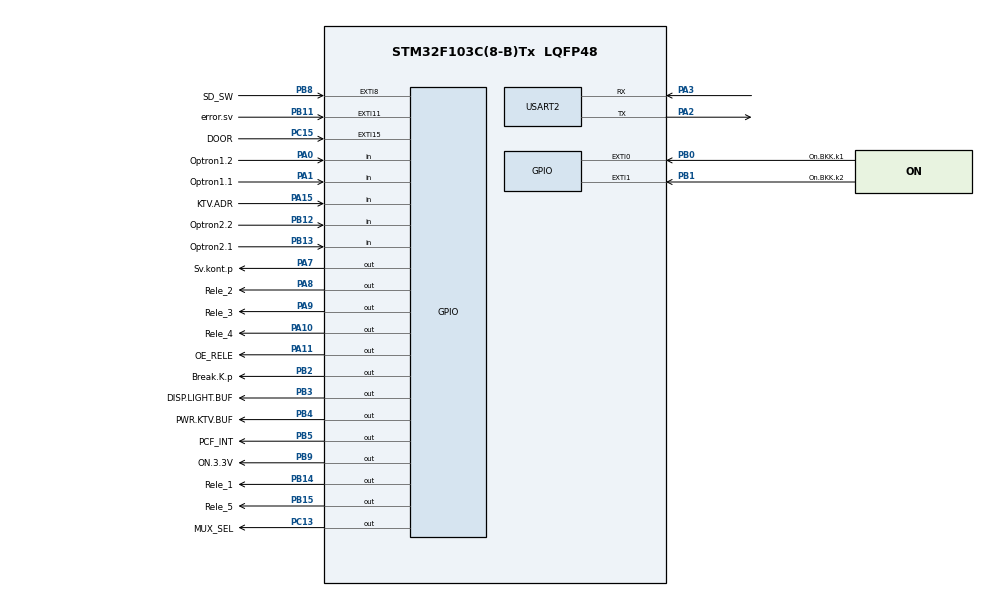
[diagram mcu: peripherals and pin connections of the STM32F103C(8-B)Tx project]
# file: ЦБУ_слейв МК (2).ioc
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Dma.Request0=USART2_RX
Dma.Request1=USART2_TX
Dma.USART2_RX.0.Direction=DMA_PERIPH_TO_MEMORY
Dma.USART2_RX.0.Instance=DMA1_Channel6
Dma.USART2_RX.0.MemDataAlignment=DMA_MDATAALIGN_BYTE
Dma.USART2_RX.0.MemInc=DMA_MINC_ENABLE
Dma.USART2_RX.0.Mode=DMA_NORMAL
Dma.USART2_RX.0.PeriphDataAlignment=DMA_PDATAALIGN_BYTE
Dma.USART2_RX.0.PeriphInc=DMA_PINC_DISABLE
Dma.USART2_RX.0.Priority=DMA_PRIORITY_LOW
Dma.USART2_TX.1.Direction=DMA_MEMORY_TO_PERIPH
Dma.USART2_TX.1.Instance=DMA1_Channel7
Dma.USART2_TX.1.MemDataAlignment=DMA_MDATAALIGN_BYTE
Dma.USART2_TX.1.MemInc=DMA_MINC_ENABLE
Dma.USART2_TX.1.Mode=DMA_NORMAL
Dma.USART2_TX.1.PeriphDataAlignment=DMA_PDATAALIGN_BYTE
Dma.USART2_TX.1.PeriphInc=DMA_PINC_DISABLE
Dma.USART2_TX.1.Priority=DMA_PRIORITY_LOW
Mcu.Family=STM32F1
Mcu.Name=STM32F103C(8-B)Tx
Mcu.Package=LQFP48
NVIC.DMA1_Channel6_IRQn=true\:0\:0\:false\:false\:true\:false\:true\:true
NVIC.DMA1_Channel7_IRQn=true\:0\:0\:false\:false\:true\:false\:true\:true
NVIC.EXTI0_IRQn=true\:0\:0\:false\:false\:true\:true\:true\:true
NVIC.EXTI15_10_IRQn=true\:0\:0\:false\:false\:true\:true\:true\:true
NVIC.EXTI1_IRQn=true\:0\:0\:false\:false\:true\:true\:true\:true
NVIC.EXTI9_5_IRQn=true\:0\:0\:false\:false\:true\:true\:true\:true
NVIC.PriorityGroup=NVIC_PRIORITYGROUP_4
NVIC.TIM1_UP_IRQn=true\:0\:0\:false\:false\:true\:true\:true\:true
NVIC.TIM2_IRQn=true\:0\:0\:false\:false\:true\:true\:true\:true
NVIC.USART2_IRQn=true\:0\:0\:false\:false\:true\:true\:true\:true
PA0-WKUP.GPIO_Label=Optron1.2
PA0-WKUP.GPIO_PuPd=GPIO_NOPULL
PA0-WKUP.Signal=GPIO_Input
PA1.GPIO_Label=Optron1.1
PA1.GPIO_PuPd=GPIO_NOPULL
PA1.Signal=GPIO_Input
PA10.GPIO_Label=Rele_4
PA10.GPIO_PuPd=GPIO_PULLDOWN
PA10.PinState=GPIO_PIN_SET
PA10.Signal=GPIO_Output
PA11.GPIO_Label=OE_RELE
PA11.GPIO_PuPd=GPIO_PULLUP
PA11.Signal=GPIO_Output
PA13.Mode=Serial_Wire
PA13.Signal=SYS_JTMS-SWDIO
PA14.Mode=Serial_Wire
PA14.Signal=SYS_JTCK-SWCLK
PA15.GPIO_Label=KTV.ADR
PA15.GPIO_PuPd=GPIO_NOPULL
PA15.Signal=GPIO_Input
PA2.Mode=Asynchronous
PA2.Signal=USART2_TX
PA3.Mode=Asynchronous
PA3.Signal=USART2_RX
PA7.GPIO_Label=Sv.kont.p
PA7.GPIO_PuPd=GPIO_PULLUP
PA7.Signal=GPIO_Output
PA8.GPIO_Label=Rele_2
PA8.GPIO_PuPd=GPIO_PULLDOWN
PA8.PinState=GPIO_PIN_SET
PA8.Signal=GPIO_Output
PA9.GPIO_Label=Rele_3
PA9.GPIO_PuPd=GPIO_PULLDOWN
PA9.PinState=GPIO_PIN_SET
PA9.Signal=GPIO_Output
PB0.GPIO_Label=On.BKK.k1
PB0.GPIO_ModeDefaultEXTI=GPIO_MODE_IT_RISING_FALLING
PB0.GPIO_PuPd=GPIO_NOPULL
PB0.Signal=GPXTI0
PB1.GPIO_Label=On.BKK.k2
PB1.GPIO_ModeDefaultEXTI=GPIO_MODE_IT_RISING_FALLING
PB1.GPIO_PuPd=GPIO_NOPULL
PB1.Signal=GPXTI1
PB11.GPIO_Label=error.sv
PB11.GPIO_ModeDefaultEXTI=GPIO_MODE_IT_RISING_FALLING
PB11.GPIO_PuPd=GPIO_NOPULL
PB11.Signal=GPXTI11
PB12.GPIO_Label=Optron2.2
PB12.GPIO_PuPd=GPIO_NOPULL
PB12.Signal=GPIO_Input
PB13.GPIO_Label=Optron2.1
PB13.GPIO_PuPd=GPIO_NOPULL
PB13.Signal=GPIO_Input
PB14.GPIO_Label=Rele_1
PB14.GPIO_PuPd=GPIO_PULLDOWN
PB14.PinState=GPIO_PIN_SET
PB14.Signal=GPIO_Output
PB15.GPIO_Label=Rele_5
PB15.GPIO_PuPd=GPIO_PULLDOWN
PB15.PinState=GPIO_PIN_SET
PB15.Signal=GPIO_Output
PB2.GPIO_Label=Break.K.p
PB2.GPIO_PuPd=GPIO_PULLUP
PB2.Signal=GPIO_Output
PB3.GPIO_Label=DISP.LIGHT.BUF
PB3.GPIO_PuPd=GPIO_PULLDOWN
PB3.PinState=GPIO_PIN_SET
PB3.Signal=GPIO_Output
PB4.GPIO_Label=PWR.KTV.BUF
PB4.GPIO_PuPd=GPIO_PULLDOWN
PB4.PinState=GPIO_PIN_SET
PB4.Signal=GPIO_Output
PB5.GPIO_Label=PCF_INT
PB5.Signal=GPIO_Output
PB8.GPIO_Label=SD_SW
PB8.GPIO_ModeDefaultEXTI=GPIO_MODE_IT_RISING_FALLING
PB8.Signal=GPXTI8
PB9.GPIO_Label=ON.3.3V
PB9.GPIO_PuPd=GPIO_PULLDOWN
PB9.PinState=GPIO_PIN_SET
PB9.Signal=GPIO_Output
PC13-TAMPER-RTC.GPIO_Label=MUX_SEL
PC13-TAMPER-RTC.GPIO_PuPd=GPIO_NOPULL
PC13-TAMPER-RTC.Signal=GPIO_Output
PC15-OSC32_OUT.GPIO_Label=DOOR
PC15-OSC32_OUT.GPIO_ModeDefaultEXTI=GPIO_MODE_IT_RISING_FALLING
PC15-OSC32_OUT.GPIO_PuPd=GPIO_NOPULL
PC15-OSC32_OUT.Signal=GPXTI15
PD0-OSC_IN.Mode=HSE-External-Oscillator
PD0-OSC_IN.Signal=RCC_OSC_IN
PD1-OSC_OUT.Mode=HSE-External-Oscillator
PD1-OSC_OUT.Signal=RCC_OSC_OUT
ProjectManager.HeapSize=0x200
ProjectManager.StackSize=0x400
ProjectManager.TargetToolchain=EWARM V8.32
RCC.AHBFreq_Value=72000000
RCC.APB1CLKDivider=RCC_HCLK_DIV2
RCC.APB1Freq_Value=36000000
RCC.APB1TimFreq_Value=72000000
RCC.APB2Freq_Value=72000000
RCC.APB2TimFreq_Value=72000000
RCC.HCLKFreq_Value=72000000
RCC.HSE_VALUE=12000000
RCC.PLLMUL=RCC_PLL_MUL6
RCC.PLLSourceVirtual=RCC_PLLSOURCE_HSE
RCC.SYSCLKFreq_VALUE=72000000
RCC.SYSCLKSource=RCC_SYSCLKSOURCE_PLLCLK
RCC.USBFreq_Value=72000000
TIM1.Period=999
TIM1.Prescaler=71
TIM2.Period=19
TIM2.Prescaler=7199
USART2.VirtualMode=VM_ASYNC
VP_TIM1_VS_ClockSourceINT.Mode=Internal
VP_TIM2_VS_ClockSourceINT.Mode=Internal
board=custom

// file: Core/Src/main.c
/* USER CODE BEGIN Header */
/**
  ******************************************************************************
  * @file           : main.c
  * @brief          : Main program body
  ******************************************************************************
  * @attention
  *
  * Copyright (c) 2026 STMicroelectronics.
  * All rights reserved.
  *
  * This software is licensed under terms that can be found in the LICENSE file
  * in the root directory of this software component.
  * If no LICENSE file comes with this software, it is provided AS-IS.
  *
  ******************************************************************************
  */
/* USER CODE END Header */
#include "main.h"

/* USER CODE BEGIN Includes */
#include "stm32f1xx.h"

#include "mbcrc.h"
/* USER CODE END Includes */

/* USER CODE BEGIN PTD */
#define BOOTLOADER_START_ADDR (0x08000000U)
#define BOOTLOADER_END_ADDR   (0x08001FFFU)
#define APP_START_ADDR        (0x08002000U)
#define APP_FLASH_CFG_START   (0x0800FC00U)
#define APP_FLASH_CFG_END     (0x0800FFFFU)

#define APP_ADDR               APP_START_ADDR   //Это адаптированный загрузчик от UMVH
#define END_APP_ADDR           APP_FLASH_CFG_START - 1
/* USER CODE END PTD */

/* USER CODE BEGIN PD */
typedef void (*pAppEntry)(void);

#define buf_size_rx             100

#define FLASH_CFG_PAGE_ADDR    APP_FLASH_CFG_START

#define UPDATE_FLAG            APP_FLASH_CFG_START
#define FLASH_PAGE_SIZE        1024U

#define UPDATE_TIMEOUT_LOOPS 100000U
#define ID                      0x01

#define HEADER_SIZE           6   // ID(1)+FUNC(1)+PKT_H(1)+PKT_L(1)+TOT_H(1)+TOT_L(1)
#define CRC_SIZE              2
#define FUNC_CODE_FIRMWARE    0x2A
#define MODBUS_ILLEGAL_FUNCTION    0x01
#define CONFIG_PAGE_BASE   FLASH_CFG_PAGE_ADDR  // Адрес страницы с настройками калибровки и прочее

volatile uint32_t tick = 0;
volatile uint16_t number = 1;

volatile uint16_t time_x = 0;
#define TIME_X_MAX         30

static uint16_t s_pageBuf[FLASH_PAGE_SIZE/2];  // 1 КБ = 512 halfword
/* USER CODE END PD */

/* USER CODE BEGIN PM */
uint8_t receive_buf[buf_size_rx] = {0};
unsigned char ID_1 = ID;
/* USER CODE END PM */

void SystemClock_Config(void);
static void MX_GPIO_Init(void);
static void MX_DMA_Init(void);
static void MX_USART2_UART_Init(void);
static void MX_TIM2_Init(void);
static void MX_TIM1_Init(void);
/* USER CODE BEGIN PFP */

void MY_UARTEx_RxEventCallback(uint16_t Size);
void JumpToApp(void);
void Update(void);
void SwitchToReceive(void);

static void flash_unlock(void);
static void flash_lock(void);
static uint8_t flash_program_halfword(uint32_t addr, uint16_t data);
static void send_ack(uint16_t packet);
void OS_usave_packet(uint16_t rx_len);
void ERROR_handler(uint8_t exception_code);
static void uart_tx(const uint8_t *buf, uint16_t len);
uint16_t FW_CalcCrc_ExcludeTail2(void);
static inline uint16_t swap_bytes16(uint16_t x);
//void SysTick_Handler(void);

/* USER CODE END PFP */

/* USER CODE BEGIN 0 */
void JumpToApp(void) {
    uint32_t *app_vec = (uint32_t *)APP_ADDR;
    // 1) Отключаем все прерывания
    __disable_irq();
    // 2) Устанавливаем MSP = первый элемент векторной таблицы приложения
    __set_MSP(app_vec[0]);

    // 3) сбросить USART1
    LL_USART_Disable(USART2);
    LL_APB1_GRP1_ForceReset(LL_APB1_GRP1_PERIPH_USART2);
    LL_APB1_GRP1_ReleaseReset(LL_APB1_GRP1_PERIPH_USART2);

    // 4) сбросить DMA‑канал (тот, что RX)
    LL_DMA_DisableChannel(DMA1, LL_DMA_CHANNEL_6);
    LL_AHB1_GRP1_DisableClock(LL_AHB1_GRP1_PERIPH_DMA1);
    LL_AHB1_GRP1_EnableClock(LL_AHB1_GRP1_PERIPH_DMA1);
    DMA1->IFCR = 0xFFFFFFFFu;

    // 5) отключить и сбросить NVIC
    NVIC_DisableIRQ(USART2_IRQn);
    NVIC_ClearPendingIRQ(USART2_IRQn);
    NVIC->ICER[0] = 0xFFFFFFFFu;
    NVIC->ICPR[0] = 0xFFFFFFFFu;

    // 6) Получаем адрес Reset_Handler приложения
    pAppEntry entry = (pAppEntry)app_vec[1];
    // 7) Прыгаем в приложение

    SysTick->CTRL = 0;
    SysTick->LOAD = 0;
    SysTick->VAL  = 0;

    entry();
    while (1) { /* не придём сюда */ }
}

static inline uint16_t swap_bytes16(uint16_t x)
{
    return (uint16_t)((x >> 8) | (x << 8));
}

static int Flash_ReadPageToBuf(uint32_t pageBase)
{
    // просто копируем байты страницы в RAM
    const uint16_t *src = (const uint16_t *)pageBase;
    for (uint32_t i = 0; i < FLASH_PAGE_SIZE/2; ++i) {
        s_pageBuf[i] = src[i];
    }
    return 0;
}

static int Flash_ErasePage(uint32_t pageBase)
{
    flash_unlock();
    FLASH->SR = FLASH_SR_EOP | FLASH_SR_WRPRTERR | FLASH_SR_PGERR;
    FLASH->CR |= FLASH_CR_PER;
    FLASH->AR  = pageBase;
    FLASH->CR |= FLASH_CR_STRT;
    while (FLASH->SR & FLASH_SR_BSY) {}
    FLASH->CR &= ~FLASH_CR_PER;
    if (FLASH->SR & (FLASH_SR_WRPRTERR | FLASH_SR_PGERR)) { flash_lock(); return -1; }
    FLASH->SR = FLASH_SR_EOP;
    flash_lock();
    return 0;
}

static int Flash_ProgramPageFromBuf(uint32_t pageBase)
{
    flash_unlock();
    for (uint32_t i = 0; i < FLASH_PAGE_SIZE/2; ++i) {
        uint32_t addr = pageBase + i*2;
        uint16_t hw   = s_pageBuf[i];
        if (hw == 0xFFFFu) continue;               // можно не писать стёртые полусловa
        if (flash_program_halfword(addr, hw)) {    // твоя функция
            flash_lock();
            return -1;
        }
    }
    flash_lock();
    return 0;
}

/* Сохранить страницу, изменив только два флага */
int Flash_PreservePageExceptOS(uint32_t flag1_addr, uint16_t flag1_val)
{
    const uint32_t pageBase = (flag1_addr & ~(FLASH_PAGE_SIZE-1u));

    __disable_irq();                     // чтобы никто не читал эту страницу во время операции

    // 1) копируем страницу в RAM
    Flash_ReadPageToBuf(pageBase);

    // 2) правим только флаги в копии
    s_pageBuf[(flag1_addr - pageBase)/2] = flag1_val;   // например 0xFFFF чтобы «стереть» флаг

    // 3) стираем страницу
    if (Flash_ErasePage(pageBase)) { __enable_irq(); return -3; }

    // 4) заливаем обратно всю страницу из буфера
    if (Flash_ProgramPageFromBuf(pageBase)) { __enable_irq(); return -4; }

    __enable_irq();
    return 0;
}

/* глобальная статическая переменная для адреса записи */
static uint32_t flash_write_addr = APP_ADDR;

/* вспомогательные функции для работы с флеш */
static inline void flash_unlock(void) {
    if (FLASH->CR & FLASH_CR_LOCK) {
        FLASH->KEYR = FLASH_KEY1;
        FLASH->KEYR = FLASH_KEY2;
    }
}

static inline void flash_lock(void) {
    FLASH->CR |= FLASH_CR_LOCK;
}

/* программирует в флеш half‑word, возвращает 0 при успехе */
static uint8_t flash_program_halfword(uint32_t addr, uint16_t data) {
    flash_unlock();
    FLASH->CR |= FLASH_CR_PG;
    *(__IO uint16_t*)addr = data;
    while (FLASH->SR & FLASH_SR_BSY);
    FLASH->CR &= ~FLASH_CR_PG;
    if (FLASH->SR & (FLASH_SR_WRPRTERR | FLASH_SR_PGERR)) return 1;
    FLASH->SR = FLASH_SR_EOP | FLASH_SR_WRPRTERR | FLASH_SR_PGERR;
    return 0;
}

static void uart_tx(const uint8_t *buf, uint16_t len)
{
  for (uint16_t i=0; i<len; i++) {
    while (!LL_USART_IsActiveFlag_TXE(USART2));
    LL_USART_TransmitData8(USART2, buf[i]);
  }
  while (!LL_USART_IsActiveFlag_TC(USART2));
  LL_USART_ClearFlag_TC(USART2);
  LL_DMA_EnableChannel(DMA1, LL_DMA_CHANNEL_6);
  SwitchToReceive();
}

static void send_ack(uint16_t packet)
{
    uint8_t resp[6];
    resp[0] = ID_1;
    resp[1] = FUNC_CODE_FIRMWARE;
    resp[2] = (packet >> 8) & 0xFF;
    resp[3] = packet & 0xFF;
    uint16_t crc = mbcrc(resp, 4);
    resp[4] = (crc >> 8) & 0xFF;
    resp[5] =  crc        & 0xFF;

    uart_tx(resp, 6);
}

uint16_t FW_CalcCrc_ExcludeTail2(void)
{
    const uint32_t start = APP_ADDR;
    const uint32_t end_inclusive = END_APP_ADDR;

    uint32_t len = (end_inclusive - start + 1u);
    //uint32_t len = (end_inclusive - start);
    if (len < 2u) {
        return 0xFFFFu; // или 0, как удобнее обрабатывать ошибку
    }

    len -= 2u; // исключаем последние 2 байта (CRC)
    return mbcrc((unsigned char *)start, (int32_t)len);
}

void OS_usave_packet(uint16_t rx_len)
{
    volatile uint16_t pkt_num   = (receive_buf[2] << 8) | receive_buf[3];
    uint16_t total_pkts= (receive_buf[4] << 8) | receive_buf[5];
    uint8_t *data      = &receive_buf[HEADER_SIZE];
    uint16_t data_len  = rx_len - HEADER_SIZE - CRC_SIZE;

    if(number == pkt_num)
    {
      time_x = 1;
      uint16_t i;
      /* записываем payload пополам: два байта = half‑word */
      for (i = 0; (i+1) < data_len; i += 2) {
          uint16_t half = data[i] | (data[i+1] << 8);
          flash_program_halfword(flash_write_addr, half);
          flash_write_addr += 2;
      }

      if (i < data_len)
      {
          // остался один байт в data[i], а data[i+1] уже CRC;
          // зальём последний байт + 0xFF:
          // счетчик не увеличиваем, подразумеваем что это последний пакет
          uint16_t half = data[i] | (0xFF << 8);
          flash_program_halfword(flash_write_addr, half);
          //flash_write_addr += 1;
      }

      number++;
      /* отправляем подтверждение */
      send_ack(pkt_num);

      /* если это последний пакет — пишем флаг и прыгаем */
      if (pkt_num == total_pkts) {
          flash_program_halfword(UPDATE_FLAG, 0xFFFFu);
          flash_lock();
          //JumpToApp();
          time_x = 0;
      }
    }
    else
    {
      send_ack(0xFFFF);
      flash_program_halfword(UPDATE_FLAG, 0x1111u);
      flash_lock();
      time_x = 0;
    }
}

void ERROR_handler(uint8_t exception_code)
{
    uint8_t resp[5];
    uint8_t func_code = (receive_buf[1] | 0x80);  // оригинальный код функции с битом ошибки

    resp[0] = ID_1;           // адрес ведомого
    resp[1] = func_code;      // код функции + 0x80
    resp[2] = exception_code; // код исключения

    // CRC по первым 3 байтам
    uint16_t crc = mbcrc(resp, 3);
    resp[3] = (crc >> 8) & 0xFF;
    resp[4] =  crc        & 0xFF;

    uart_tx(resp, 5);
}

void MY_UARTEx_RxEventCallback(uint16_t Size)
{
    uint16_t rx_length = Size;

    if(!rx_length)
      return;

    tick = 0;

    uint16_t checksum = 0;

    if(rx_length > 2)
    {
      checksum = mbcrc(receive_buf, (rx_length-2)); //make CRC data
    }

    if ( (rx_length <= 2) ||
         ( (receive_buf[rx_length - 2] == (uint8_t)((checksum >> 8) & 0xFF)) &&
           (receive_buf[rx_length - 1] == (uint8_t)(checksum & 0xFF)) ) )
    {
      if(receive_buf[0] == ID_1)
      {

          switch (receive_buf[1])
          {

               case 0x2A:
                OS_usave_packet(rx_length);
                break;

               default:                                                           //errors handler
                ERROR_handler(MODBUS_ILLEGAL_FUNCTION);                           //MODBUS ILLEGAL FUNCTION//
                break;
          }
      }
      else
      {
          SwitchToReceive();
      }
    }
    else
    {
      SwitchToReceive();
    }
}

/**
 * Функция стирает область памяти под приложение
 *
 * К сожалению LL функции стирания секторов
 * на F0 недоступны, поэтому тут работа с регистрами
 *
 */
void Update(void)
{
    uint32_t pageAddr;

    // 0) Приводим страницу с настройками/флагами к нужным значениям флагов,
    //    сохранив ВСЁ остальное на странице (настройки).
    //    Здесь ставим "ожидание прошивки": UPDATE_FLAG2 = 0x1111, UPDATE_FLAG = 0xFFFF
    Flash_PreservePageExceptOS(UPDATE_FLAG,  0xFFFFu);

    // 1) Стираем ТОЛЬКО страницы приложения, кроме страницы настроек
    flash_unlock();
    FLASH->SR = FLASH_SR_EOP | FLASH_SR_WRPRTERR | FLASH_SR_PGERR;

    for (pageAddr = APP_ADDR; pageAddr < END_APP_ADDR; pageAddr += FLASH_PAGE_SIZE)
    {
        if (pageAddr == CONFIG_PAGE_BASE)
            continue;

        FLASH->CR |=  FLASH_CR_PER;
        FLASH->AR  =  pageAddr;
        FLASH->CR |=  FLASH_CR_STRT;
        while (FLASH->SR & FLASH_SR_BSY) { }

        FLASH->CR &= ~FLASH_CR_PER;
        if (FLASH->SR & (FLASH_SR_WRPRTERR | FLASH_SR_PGERR))
            break;

        FLASH->SR = FLASH_SR_EOP;
    }
    flash_lock();

    // 2) Сбрасываем адрес записи под новую прошивку
    flash_write_addr = APP_ADDR;
    number = 1;
}

void SwitchToReceive(void) {

    for (uint16_t i = 0; i < buf_size_rx; ++i) {
        receive_buf[i] = 0;
    }

    // Сброс флагов ошибки и IDLE
    LL_USART_ClearFlag_IDLE(USART2);
    LL_USART_ClearFlag_FE(USART2);
    LL_USART_ClearFlag_NE(USART2);
    LL_USART_ClearFlag_ORE(USART2);

    // Сбросить длину DMA до полного буфера и запустить приём
    LL_DMA_DisableChannel(DMA1, LL_DMA_CHANNEL_6);
    LL_DMA_SetDataLength(DMA1, LL_DMA_CHANNEL_6, buf_size_rx);
    LL_DMA_EnableChannel(DMA1, LL_DMA_CHANNEL_6);
}
/* USER CODE END 0 */

int main(void)
{

  /* MCU Configuration--------------------------------------------------------*/

  /* Reset of all peripherals, Initializes the Flash interface and the Systick. */
  LL_APB2_GRP1_EnableClock(LL_APB2_GRP1_PERIPH_AFIO);
  LL_APB1_GRP1_EnableClock(LL_APB1_GRP1_PERIPH_PWR);

  /* System interrupt init*/
  NVIC_SetPriorityGrouping(NVIC_PRIORITYGROUP_4);

  /* SysTick_IRQn interrupt configuration */
  NVIC_SetPriority(SysTick_IRQn, NVIC_EncodePriority(NVIC_GetPriorityGrouping(),15, 0));

  /** NOJTAG: JTAG-DP Disabled and SW-DP Enabled
  */
  LL_GPIO_AF_Remap_SWJ_NOJTAG();

  /* Configure the system clock */
  SystemClock_Config();

  /* Initialize all configured peripherals */
  MX_GPIO_Init();
  MX_DMA_Init();
  MX_USART2_UART_Init();
  MX_TIM2_Init();
  MX_TIM1_Init();

  /* Infinite loop */
  while (1)
  {
      volatile uint16_t flag = *(volatile uint16_t *)UPDATE_FLAG;
      volatile uint16_t OS_1st_word = *(volatile uint16_t *)(APP_ADDR +2);
      volatile uint16_t crc_os = 0;

      if(OS_1st_word != 0xFFFF)
      {
      crc_os = FW_CalcCrc_ExcludeTail2();
      crc_os = swap_bytes16(crc_os);
      }

      volatile uint16_t OS = *(volatile uint16_t *)(END_APP_ADDR - 1);

      if(flag == 0x1111u)
      {
        Update();
      }
      else
      {
              if((crc_os == OS) && (OS_1st_word != 0xFFFF))
              {
                JumpToApp();
              }
              else
              {
                if(time_x && (OS_1st_word != 0xFFFF))
                {
                  if(time_x >= TIME_X_MAX)
                  {
                    Update();
                    time_x = 0;
                  }
                }
              }
      }

      if (tick >= 1000u) {
      tick -= 1000u;
      time_x++;        // прошло 1 сек и более
      }
  }
}

void SystemClock_Config(void)
{
  LL_FLASH_SetLatency(LL_FLASH_LATENCY_2);
  while(LL_FLASH_GetLatency()!= LL_FLASH_LATENCY_2)
  {
  }
  LL_RCC_HSE_Enable();

   /* Wait till HSE is ready */
  while(LL_RCC_HSE_IsReady() != 1)
  {

  }
  LL_RCC_PLL_ConfigDomain_SYS(LL_RCC_PLLSOURCE_HSE_DIV_1, LL_RCC_PLL_MUL_6);
  LL_RCC_PLL_Enable();

   /* Wait till PLL is ready */
  while(LL_RCC_PLL_IsReady() != 1)
  {

  }
  LL_RCC_SetAHBPrescaler(LL_RCC_SYSCLK_DIV_1);
  LL_RCC_SetAPB1Prescaler(LL_RCC_APB1_DIV_2);
  LL_RCC_SetAPB2Prescaler(LL_RCC_APB2_DIV_1);
  LL_RCC_SetSysClkSource(LL_RCC_SYS_CLKSOURCE_PLL);

   /* Wait till System clock is ready */
  while(LL_RCC_GetSysClkSource() != LL_RCC_SYS_CLKSOURCE_STATUS_PLL)
  {

  }
  LL_Init1msTick(72000000);
  LL_SetSystemCoreClock(72000000);
}

static void MX_TIM1_Init(void)
{

  LL_TIM_InitTypeDef TIM_InitStruct = {0};

  /* Peripheral clock enable */
  LL_APB2_GRP1_EnableClock(LL_APB2_GRP1_PERIPH_TIM1);

  /* TIM1 interrupt Init */
  NVIC_SetPriority(TIM1_UP_IRQn, NVIC_EncodePriority(NVIC_GetPriorityGrouping(),0, 0));
  NVIC_EnableIRQ(TIM1_UP_IRQn);

  TIM_InitStruct.Prescaler = 71;
  TIM_InitStruct.CounterMode = LL_TIM_COUNTERMODE_UP;
  TIM_InitStruct.Autoreload = 999;
  TIM_InitStruct.ClockDivision = LL_TIM_CLOCKDIVISION_DIV1;
  TIM_InitStruct.RepetitionCounter = 0;
  LL_TIM_Init(TIM1, &TIM_InitStruct);
  LL_TIM_DisableARRPreload(TIM1);
  LL_TIM_SetClockSource(TIM1, LL_TIM_CLOCKSOURCE_INTERNAL);
  LL_TIM_SetTriggerOutput(TIM1, LL_TIM_TRGO_RESET);
  LL_TIM_DisableMasterSlaveMode(TIM1);

}

static void MX_TIM2_Init(void)
{

  LL_TIM_InitTypeDef TIM_InitStruct = {0};

  /* Peripheral clock enable */
  LL_APB1_GRP1_EnableClock(LL_APB1_GRP1_PERIPH_TIM2);

  /* TIM2 interrupt Init */
  NVIC_SetPriority(TIM2_IRQn, NVIC_EncodePriority(NVIC_GetPriorityGrouping(),0, 0));
  NVIC_EnableIRQ(TIM2_IRQn);

  TIM_InitStruct.Prescaler = 7199;
  TIM_InitStruct.CounterMode = LL_TIM_COUNTERMODE_UP;
  TIM_InitStruct.Autoreload = 19;
  TIM_InitStruct.ClockDivision = LL_TIM_CLOCKDIVISION_DIV1;
  LL_TIM_Init(TIM2, &TIM_InitStruct);
  LL_TIM_DisableARRPreload(TIM2);
  LL_TIM_SetClockSource(TIM2, LL_TIM_CLOCKSOURCE_INTERNAL);
  LL_TIM_SetTriggerOutput(TIM2, LL_TIM_TRGO_RESET);
  LL_TIM_DisableMasterSlaveMode(TIM2);

}

static void MX_USART2_UART_Init(void)
{

  LL_USART_InitTypeDef USART_InitStruct = {0};

  LL_GPIO_InitTypeDef GPIO_InitStruct = {0};

  /* Peripheral clock enable */
  LL_APB1_GRP1_EnableClock(LL_APB1_GRP1_PERIPH_USART2);

  LL_APB2_GRP1_EnableClock(LL_APB2_GRP1_PERIPH_GPIOA);
  /**USART2 GPIO Configuration
  PA2   ------> USART2_TX
  PA3   ------> USART2_RX
  */
  GPIO_InitStruct.Pin = LL_GPIO_PIN_2;
  GPIO_InitStruct.Mode = LL_GPIO_MODE_ALTERNATE;
  GPIO_InitStruct.Speed = LL_GPIO_SPEED_FREQ_HIGH;
  GPIO_InitStruct.OutputType = LL_GPIO_OUTPUT_PUSHPULL;
  LL_GPIO_Init(GPIOA, &GPIO_InitStruct);

  GPIO_InitStruct.Pin = LL_GPIO_PIN_3;
  GPIO_InitStruct.Mode = LL_GPIO_MODE_FLOATING;
  LL_GPIO_Init(GPIOA, &GPIO_InitStruct);

  /* USART2 DMA Init */

  /* USART2_RX Init */
  LL_DMA_SetDataTransferDirection(DMA1, LL_DMA_CHANNEL_6, LL_DMA_DIRECTION_PERIPH_TO_MEMORY);

  LL_DMA_SetChannelPriorityLevel(DMA1, LL_DMA_CHANNEL_6, LL_DMA_PRIORITY_LOW);

  LL_DMA_SetMode(DMA1, LL_DMA_CHANNEL_6, LL_DMA_MODE_NORMAL);

  LL_DMA_SetPeriphIncMode(DMA1, LL_DMA_CHANNEL_6, LL_DMA_PERIPH_NOINCREMENT);

  LL_DMA_SetMemoryIncMode(DMA1, LL_DMA_CHANNEL_6, LL_DMA_MEMORY_INCREMENT);

  LL_DMA_SetPeriphSize(DMA1, LL_DMA_CHANNEL_6, LL_DMA_PDATAALIGN_BYTE);

  LL_DMA_SetMemorySize(DMA1, LL_DMA_CHANNEL_6, LL_DMA_MDATAALIGN_BYTE);

  /* USART2_TX Init */
  LL_DMA_SetDataTransferDirection(DMA1, LL_DMA_CHANNEL_7, LL_DMA_DIRECTION_MEMORY_TO_PERIPH);

  LL_DMA_SetChannelPriorityLevel(DMA1, LL_DMA_CHANNEL_7, LL_DMA_PRIORITY_LOW);

  LL_DMA_SetMode(DMA1, LL_DMA_CHANNEL_7, LL_DMA_MODE_NORMAL);

  LL_DMA_SetPeriphIncMode(DMA1, LL_DMA_CHANNEL_7, LL_DMA_PERIPH_NOINCREMENT);

  LL_DMA_SetMemoryIncMode(DMA1, LL_DMA_CHANNEL_7, LL_DMA_MEMORY_INCREMENT);

  LL_DMA_SetPeriphSize(DMA1, LL_DMA_CHANNEL_7, LL_DMA_PDATAALIGN_BYTE);

  LL_DMA_SetMemorySize(DMA1, LL_DMA_CHANNEL_7, LL_DMA_MDATAALIGN_BYTE);

  /* USART2 interrupt Init */
  NVIC_SetPriority(USART2_IRQn, NVIC_EncodePriority(NVIC_GetPriorityGrouping(),0, 0));
  NVIC_EnableIRQ(USART2_IRQn);

  USART_InitStruct.BaudRate = 115200;
  USART_InitStruct.DataWidth = LL_USART_DATAWIDTH_8B;
  USART_InitStruct.StopBits = LL_USART_STOPBITS_1;
  USART_InitStruct.Parity = LL_USART_PARITY_NONE;
  USART_InitStruct.TransferDirection = LL_USART_DIRECTION_TX_RX;
  USART_InitStruct.HardwareFlowControl = LL_USART_HWCONTROL_NONE;
  USART_InitStruct.OverSampling = LL_USART_OVERSAMPLING_16;
  LL_USART_Init(USART2, &USART_InitStruct);
  LL_USART_ConfigAsyncMode(USART2);
  LL_USART_Enable(USART2);

}

static void MX_DMA_Init(void)
{

  /* Init with LL driver */
  /* DMA controller clock enable */
  LL_AHB1_GRP1_EnableClock(LL_AHB1_GRP1_PERIPH_DMA1);

  /* DMA interrupt init */
  /* DMA1_Channel6_IRQn interrupt configuration */
  NVIC_SetPriority(DMA1_Channel6_IRQn, NVIC_EncodePriority(NVIC_GetPriorityGrouping(),0, 0));
  NVIC_EnableIRQ(DMA1_Channel6_IRQn);
  /* DMA1_Channel7_IRQn interrupt configuration */
  NVIC_SetPriority(DMA1_Channel7_IRQn, NVIC_EncodePriority(NVIC_GetPriorityGrouping(),0, 0));
  NVIC_EnableIRQ(DMA1_Channel7_IRQn);

}

static void MX_GPIO_Init(void)
{
  LL_EXTI_InitTypeDef EXTI_InitStruct = {0};
  LL_GPIO_InitTypeDef GPIO_InitStruct = {0};

  /* GPIO Ports Clock Enable */
  LL_APB2_GRP1_EnableClock(LL_APB2_GRP1_PERIPH_GPIOC);
  LL_APB2_GRP1_EnableClock(LL_APB2_GRP1_PERIPH_GPIOD);
  LL_APB2_GRP1_EnableClock(LL_APB2_GRP1_PERIPH_GPIOA);
  LL_APB2_GRP1_EnableClock(LL_APB2_GRP1_PERIPH_GPIOB);

  /**/
  LL_GPIO_ResetOutputPin(MUX_SEL_GPIO_Port, MUX_SEL_Pin);

  /**/
  LL_GPIO_ResetOutputPin(GPIOA, Sv_kont_p_Pin|OE_RELE_Pin);

  /**/
  LL_GPIO_ResetOutputPin(GPIOB, Break_K_p_Pin|PCF_INT_Pin);

  /**/
  LL_GPIO_SetOutputPin(GPIOB, Rele_1_Pin|Rele_5_Pin|DISP_LIGHT_BUF_Pin|PWR_KTV_BUF_Pin
                          |ON_3_3V_Pin);

  /**/
  LL_GPIO_SetOutputPin(GPIOA, Rele_2_Pin|Rele_3_Pin|Rele_4_Pin);

  /**/
  GPIO_InitStruct.Pin = MUX_SEL_Pin;
  GPIO_InitStruct.Mode = LL_GPIO_MODE_OUTPUT;
  GPIO_InitStruct.Speed = LL_GPIO_SPEED_FREQ_LOW;
  GPIO_InitStruct.OutputType = LL_GPIO_OUTPUT_PUSHPULL;
  LL_GPIO_Init(MUX_SEL_GPIO_Port, &GPIO_InitStruct);

  /**/
  GPIO_InitStruct.Pin = Optron1_2_Pin|Optron1_1_Pin|KTV_ADR_Pin;
  GPIO_InitStruct.Mode = LL_GPIO_MODE_FLOATING;
  LL_GPIO_Init(GPIOA, &GPIO_InitStruct);

  /**/
  GPIO_InitStruct.Pin = Sv_kont_p_Pin|OE_RELE_Pin;
  GPIO_InitStruct.Mode = LL_GPIO_MODE_OUTPUT;
  GPIO_InitStruct.Speed = LL_GPIO_SPEED_FREQ_LOW;
  GPIO_InitStruct.OutputType = LL_GPIO_OUTPUT_PUSHPULL;
  GPIO_InitStruct.Pull = LL_GPIO_PULL_UP;
  LL_GPIO_Init(GPIOA, &GPIO_InitStruct);

  /**/
  GPIO_InitStruct.Pin = Break_K_p_Pin;
  GPIO_InitStruct.Mode = LL_GPIO_MODE_OUTPUT;
  GPIO_InitStruct.Speed = LL_GPIO_SPEED_FREQ_LOW;
  GPIO_InitStruct.OutputType = LL_GPIO_OUTPUT_PUSHPULL;
  GPIO_InitStruct.Pull = LL_GPIO_PULL_UP;
  LL_GPIO_Init(Break_K_p_GPIO_Port, &GPIO_InitStruct);

  /**/
  GPIO_InitStruct.Pin = Optron2_2_Pin|Optron2_1_Pin;
  GPIO_InitStruct.Mode = LL_GPIO_MODE_FLOATING;
  LL_GPIO_Init(GPIOB, &GPIO_InitStruct);

  /**/
  GPIO_InitStruct.Pin = Rele_1_Pin|Rele_5_Pin|DISP_LIGHT_BUF_Pin|PWR_KTV_BUF_Pin
                          |ON_3_3V_Pin;
  GPIO_InitStruct.Mode = LL_GPIO_MODE_OUTPUT;
  GPIO_InitStruct.Speed = LL_GPIO_SPEED_FREQ_LOW;
  GPIO_InitStruct.OutputType = LL_GPIO_OUTPUT_PUSHPULL;
  GPIO_InitStruct.Pull = LL_GPIO_PULL_DOWN;
  LL_GPIO_Init(GPIOB, &GPIO_InitStruct);

  /**/
  GPIO_InitStruct.Pin = Rele_2_Pin|Rele_3_Pin|Rele_4_Pin;
  GPIO_InitStruct.Mode = LL_GPIO_MODE_OUTPUT;
  GPIO_InitStruct.Speed = LL_GPIO_SPEED_FREQ_LOW;
  GPIO_InitStruct.OutputType = LL_GPIO_OUTPUT_PUSHPULL;
  GPIO_InitStruct.Pull = LL_GPIO_PULL_DOWN;
  LL_GPIO_Init(GPIOA, &GPIO_InitStruct);

  /**/
  GPIO_InitStruct.Pin = PCF_INT_Pin;
  GPIO_InitStruct.Mode = LL_GPIO_MODE_OUTPUT;
  GPIO_InitStruct.Speed = LL_GPIO_SPEED_FREQ_LOW;
  GPIO_InitStruct.OutputType = LL_GPIO_OUTPUT_PUSHPULL;
  LL_GPIO_Init(PCF_INT_GPIO_Port, &GPIO_InitStruct);

  /**/
  LL_GPIO_AF_SetEXTISource(LL_GPIO_AF_EXTI_PORTC, LL_GPIO_AF_EXTI_LINE15);

  /**/
  LL_GPIO_AF_SetEXTISource(LL_GPIO_AF_EXTI_PORTB, LL_GPIO_AF_EXTI_LINE0);

  /**/
  LL_GPIO_AF_SetEXTISource(LL_GPIO_AF_EXTI_PORTB, LL_GPIO_AF_EXTI_LINE1);

  /**/
  LL_GPIO_AF_SetEXTISource(LL_GPIO_AF_EXTI_PORTB, LL_GPIO_AF_EXTI_LINE11);

  /**/
  LL_GPIO_AF_SetEXTISource(LL_GPIO_AF_EXTI_PORTB, LL_GPIO_AF_EXTI_LINE8);

  /**/
  EXTI_InitStruct.Line_0_31 = LL_EXTI_LINE_15;
  EXTI_InitStruct.LineCommand = ENABLE;
  EXTI_InitStruct.Mode = LL_EXTI_MODE_IT;
  EXTI_InitStruct.Trigger = LL_EXTI_TRIGGER_RISING_FALLING;
  LL_EXTI_Init(&EXTI_InitStruct);

  /**/
  EXTI_InitStruct.Line_0_31 = LL_EXTI_LINE_0;
  EXTI_InitStruct.LineCommand = ENABLE;
  EXTI_InitStruct.Mode = LL_EXTI_MODE_IT;
  EXTI_InitStruct.Trigger = LL_EXTI_TRIGGER_RISING_FALLING;
  LL_EXTI_Init(&EXTI_InitStruct);

  /**/
  EXTI_InitStruct.Line_0_31 = LL_EXTI_LINE_1;
  EXTI_InitStruct.LineCommand = ENABLE;
  EXTI_InitStruct.Mode = LL_EXTI_MODE_IT;
  EXTI_InitStruct.Trigger = LL_EXTI_TRIGGER_RISING_FALLING;
  LL_EXTI_Init(&EXTI_InitStruct);

  /**/
  EXTI_InitStruct.Line_0_31 = LL_EXTI_LINE_11;
  EXTI_InitStruct.LineCommand = ENABLE;
  EXTI_InitStruct.Mode = LL_EXTI_MODE_IT;
  EXTI_InitStruct.Trigger = LL_EXTI_TRIGGER_RISING_FALLING;
  LL_EXTI_Init(&EXTI_InitStruct);

  /**/
  EXTI_InitStruct.Line_0_31 = LL_EXTI_LINE_8;
  EXTI_InitStruct.LineCommand = ENABLE;
  EXTI_InitStruct.Mode = LL_EXTI_MODE_IT;
  EXTI_InitStruct.Trigger = LL_EXTI_TRIGGER_RISING_FALLING;
  LL_EXTI_Init(&EXTI_InitStruct);

  /**/
  LL_GPIO_SetPinMode(DOOR_GPIO_Port, DOOR_Pin, LL_GPIO_MODE_FLOATING);

  /**/
  LL_GPIO_SetPinMode(On_BKK_k1_GPIO_Port, On_BKK_k1_Pin, LL_GPIO_MODE_FLOATING);

  /**/
  LL_GPIO_SetPinMode(On_BKK_k2_GPIO_Port, On_BKK_k2_Pin, LL_GPIO_MODE_FLOATING);

  /**/
  LL_GPIO_SetPinMode(error_sv_GPIO_Port, error_sv_Pin, LL_GPIO_MODE_FLOATING);

  /**/
  LL_GPIO_SetPinMode(SD_SW_GPIO_Port, SD_SW_Pin, LL_GPIO_MODE_FLOATING);

  /* EXTI interrupt init*/
  NVIC_SetPriority(EXTI0_IRQn, NVIC_EncodePriority(NVIC_GetPriorityGrouping(),0, 0));
  NVIC_EnableIRQ(EXTI0_IRQn);
  NVIC_SetPriority(EXTI1_IRQn, NVIC_EncodePriority(NVIC_GetPriorityGrouping(),0, 0));
  NVIC_EnableIRQ(EXTI1_IRQn);
  NVIC_SetPriority(EXTI9_5_IRQn, NVIC_EncodePriority(NVIC_GetPriorityGrouping(),0, 0));
  NVIC_EnableIRQ(EXTI9_5_IRQn);
  NVIC_SetPriority(EXTI15_10_IRQn, NVIC_EncodePriority(NVIC_GetPriorityGrouping(),0, 0));
  NVIC_EnableIRQ(EXTI15_10_IRQn);

}

void Error_Handler(void)
{
  __disable_irq();
  while (1)
  {
  }
}
